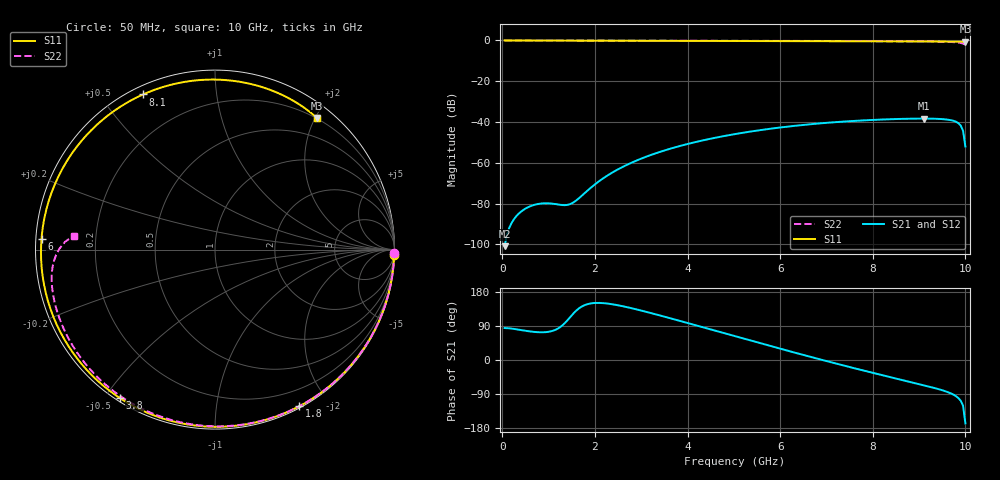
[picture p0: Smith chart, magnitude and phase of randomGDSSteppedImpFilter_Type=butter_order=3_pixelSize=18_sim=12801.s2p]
! freq	dB(S11)	phase(S11)	dB(S12)	phase(S12)
!  dB(S21)	phase(S21)	dB(S22)	phase(S22)
!S-par simulation data
#  GHz  S  DB  R 50
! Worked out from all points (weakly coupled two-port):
!   200 points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, 50 MHz to 10 GHz, reference 50 ohm
!   highest |S21| = -38.34 dB at 9.1 GHz (marker M1); lowest = -100.9 dB at 50 MHz (marker M2)
!   lowest |S11| = -0.7 dB at 10 GHz (marker M3), VSWR 26.62, Z = 9.62 + j101 ohm
!   |S11| at or under -10 dB: nowhere
!   |S22| runs from -2.0 to 0.0 dB; largest |S21 - S12| = 0
!   S11 on the Smith chart (normalised r, x): 50 MHz: 4, -63; 1.8 GHz: 0.02, -1.67; 3.8 GHz: 0.01, -0.55; 6 GHz: 0.02, +0.03; 8.1 GHz: 0.03, +0.64; 10 GHz: 0.19, +2.02
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0.05  -0.02 -1.8  -100.93 84.4  -100.93 84.4  -0.01 -1.0
0.75  -0.03 -26.3  -80.34 73.5  -80.34 73.5  -0.02 -14.6
1.5  -0.06 -51.9  -79.94 117.9  -79.94 117.9  -0.04 -29.0
1.75  -0.07 -60.1  -75.48 143.2  -75.48 143.2  -0.04 -33.8
1.8  -0.08 -61.8  -74.45 145.8  -74.45 145.8  -0.04 -34.7
2.15  -0.09 -73.0  -68.09 150.3  -68.09 150.3  -0.05 -41.3
2.5  -0.10 -84.0  -63.22 144.4  -63.22 144.4  -0.06 -47.7
3.4  -0.14 -111.1  -54.71 117.7  -54.71 117.7  -0.08 -64.0
3.8  -0.15 -122.6  -52.00 104.4  -52.00 104.4  -0.10 -71.0
4.45  -0.19 -140.9  -48.44 82.3  -48.44 82.3  -0.12 -82.2
5.05  -0.22 -157.4  -45.84 61.9  -45.84 61.9  -0.14 -92.3
6  -0.28 176.4  -42.71 29.9  -42.71 29.9  -0.19 -107.9
6.7  -0.33 156.6  -41.02 6.8  -41.02 6.8  -0.23 -119.1
7.4  -0.37 136.2  -39.76 -15.5  -39.76 -15.5  -0.29 -130.3
8.1  -0.42 114.8  -38.89 -36.9  -38.89 -36.9  -0.35 -141.7
8.35  -0.44 107.0  -38.67 -44.3  -38.67 -44.3  -0.38 -145.9
9.1  -0.49 82.8  -38.34 -66.5  -38.34 -66.5  -0.50 -159.1
9.6  -0.54 66.0  -38.80 -83.9  -38.80 -83.9  -0.68 -169.9
9.85  -0.60 57.5  -40.61 -100.6  -40.61 -100.6  -1.05 -178.1
9.9  -0.62 55.7  -41.80 -107.8  -41.80 -107.8  -1.24 179.7
9.95  -0.63 54.0  -44.33 -120.7  -44.33 -120.7  -1.54 177.1
10  -0.65 52.3  -52.06 -167.4  -52.06 -167.4  -2.04 174.3
